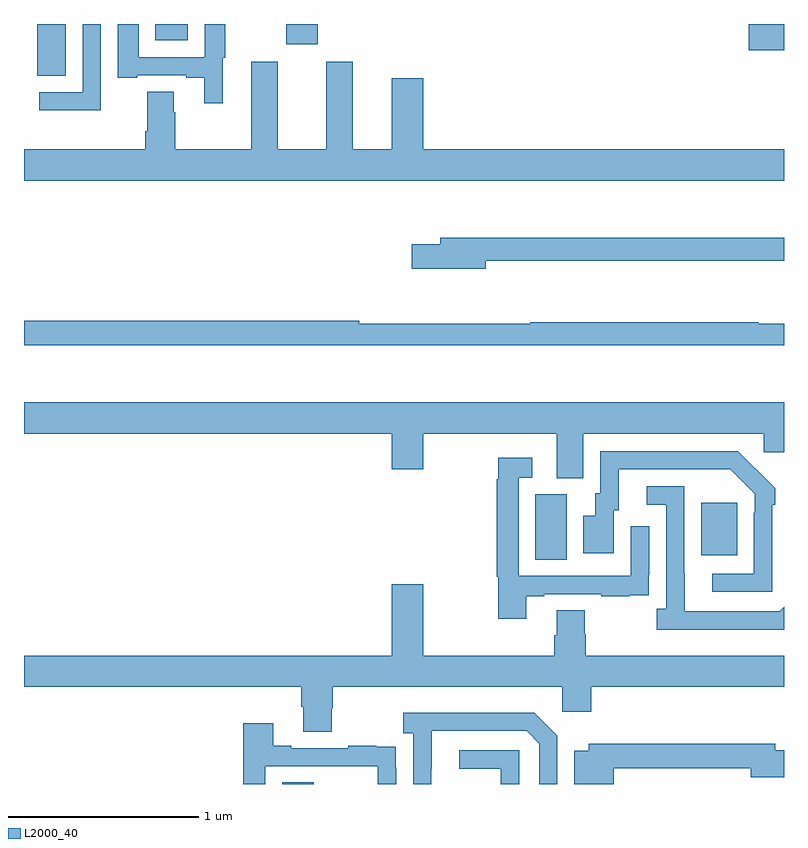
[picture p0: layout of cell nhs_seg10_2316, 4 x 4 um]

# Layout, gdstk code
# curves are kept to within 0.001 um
import gdstk
lib = gdstk.Library(unit=1e-6, precision=1e-09)
def R(c, l, rs):  # rectangles x0, y0, x1, y1
    for r in rs: c.add(gdstk.rectangle(r[:2], r[2:], *l))
def P(c, l, *ps):  # polygons
    for p in ps: c.add(gdstk.Polygon(p, *l))
L2000_40 = (2000, 40)

nhs_seg10_2316 = lib.new_cell('nhs_seg10_2316')
R(nhs_seg10_2316, L2000_40, [(236.36,1270.5,236.524,1270.508), (237.692,1271.68,237.856,1272.024), (238.565,1271.705,238.753,1271.98), (235.07,1274.227,235.219,1274.5), (238.814,1274.363,239,1274.5), (236.381,1274.394,236.545,1274.5), (235.691,1274.414,235.861,1274.5)])
P(nhs_seg10_2316, L2000_40, [(235.404,1274.5),(235.308,1274.5),(235.308,1274.142),(235.08,1274.142),(235.08,1274.045),(235.404,1274.045)],
  [(236.047,1274.322),(236.059,1274.322),(236.059,1274.5),(235.95,1274.5),(235.95,1274.325),(235.603,1274.325),(235.603,1274.5),(235.493,1274.5),(235.493,1274.217),(235.597,1274.217),(235.597,1274.229),(235.853,1274.229),(235.853,1274.217),(235.949,1274.217),(235.949,1274.082),(236.047,1274.082)],
  [(239,1273.84),(237.1,1273.84),(237.1,1274.215),(236.936,1274.215),(236.936,1273.84),(236.731,1273.84),(236.731,1274.302),(236.591,1274.302),(236.591,1273.84),(236.335,1273.84),(236.335,1274.302),(236.195,1274.302),(236.195,1273.84),(235.797,1273.84),(235.797,1274.036),(235.789,1274.036),(235.789,1274.144),(235.649,1274.144),(235.649,1273.936),(235.637,1273.936),(235.637,1273.84),(235,1273.84),(235,1273.676),(239,1273.676)],
  [(237.43,1273.254),(239,1273.254),(239,1273.375),(237.191,1273.375),(237.191,1273.341),(237.042,1273.341),(237.042,1273.211),(237.43,1273.211)],
  [(239,1272.923),(238.865,1272.923),(238.865,1272.931),(237.665,1272.931),(237.665,1272.923),(236.765,1272.923),(236.765,1272.938),(235,1272.938),(235,1272.81),(239,1272.81)],
  [(237.943,1272.344),(238.893,1272.344),(238.893,1272.246),(239,1272.246),(239,1272.508),(235,1272.508),(235,1272.344),(236.936,1272.344),(236.936,1272.156),(237.1,1272.156),(237.1,1272.344),(237.803,1272.344),(237.803,1272.109),(237.943,1272.109)],
  [(238.938,1271.969),(238.953,1271.969),(238.953,1272.057),(238.756,1272.252),(238.032,1272.252),(238.032,1272.03),(238.007,1272.03),(238.007,1271.911),(237.944,1271.911),(237.944,1271.715),(238.105,1271.715),(238.105,1271.94),(238.129,1271.94),(238.129,1272.156),(238.717,1272.156),(238.845,1272.027),(238.845,1271.927),(238.842,1271.927),(238.842,1271.607),(238.623,1271.607),(238.623,1271.511),(238.938,1271.511)],
  [(237.643,1271.487),(237.739,1271.487),(237.739,1271.499),(238.039,1271.499),(238.039,1271.487),(238.187,1271.487),(238.187,1271.493),(238.289,1271.493),(238.289,1271.602),(238.29,1271.602),(238.29,1271.857),(238.194,1271.857),(238.194,1271.595),(237.603,1271.595),(237.603,1272.111),(237.676,1272.111),(237.676,1272.217),(237.495,1272.217),(237.495,1272.104),(237.487,1272.104),(237.487,1271.592),(237.495,1271.592),(237.495,1271.37),(237.643,1271.37)],
  [(239,1271.432),(238.977,1271.409),(238.477,1271.409),(238.476,1272.066),(238.278,1272.066),(238.278,1271.97),(238.38,1271.97),(238.38,1271.422),(238.329,1271.422),(238.329,1271.312),(239,1271.312)],
  [(236.619,1270.899),(236.624,1270.899),(236.624,1271.012),(237.834,1271.012),(237.834,1270.881),(237.986,1270.881),(237.986,1271.012),(239,1271.012),(239,1271.176),(237.956,1271.176),(237.956,1271.289),(237.951,1271.289),(237.951,1271.414),(237.803,1271.414),(237.803,1271.282),(237.791,1271.282),(237.791,1271.176),(237.1,1271.176),(237.1,1271.551),(236.936,1271.551),(236.936,1271.176),(235,1271.176),(235,1271.012),(236.459,1271.012),(236.459,1270.906),(236.471,1270.906),(236.471,1270.774),(236.619,1270.774)],
  [(237.144,1270.579),(237.145,1270.779),(237.645,1270.779),(237.711,1270.713),(237.711,1270.5),(237.807,1270.5),(237.807,1270.755),(237.686,1270.876),(236.997,1270.876),(236.997,1270.766),(237.048,1270.766),(237.048,1270.5),(237.144,1270.5)],
  [(236.271,1270.593),(236.862,1270.593),(236.862,1270.5),(236.958,1270.5),(236.958,1270.586),(236.957,1270.586),(236.957,1270.695),(236.855,1270.695),(236.855,1270.702),(236.707,1270.702),(236.707,1270.689),(236.407,1270.689),(236.407,1270.702),(236.311,1270.702),(236.311,1270.819),(236.155,1270.819),(236.155,1270.5),(236.271,1270.5)],
  [(238.103,1270.582),(238.826,1270.582),(238.826,1270.535),(239,1270.535),(239,1270.677),(238.954,1270.677),(238.954,1270.711),(237.972,1270.711),(237.972,1270.675),(237.896,1270.675),(237.896,1270.5),(238.103,1270.5)],
  [(237.606,1270.677),(237.291,1270.677),(237.291,1270.581),(237.51,1270.581),(237.51,1270.5),(237.606,1270.5)])

lib.write_gds('nhs_seg10_2316.gds')
